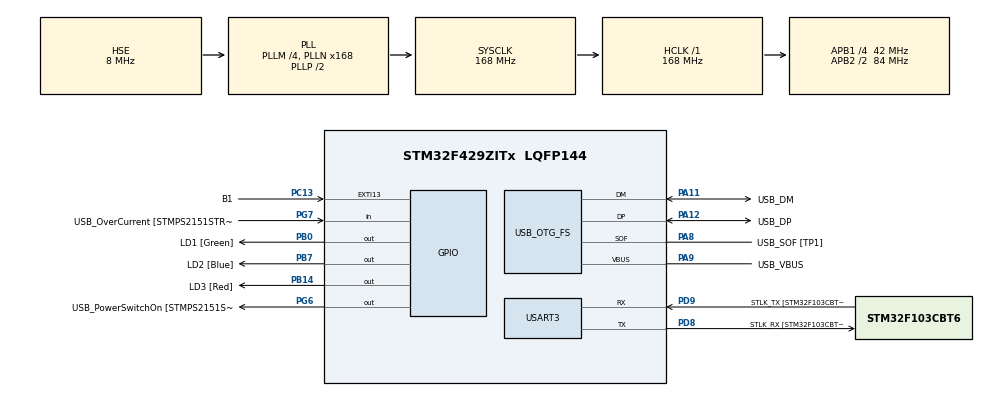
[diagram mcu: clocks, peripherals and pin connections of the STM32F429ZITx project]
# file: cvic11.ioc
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Mcu.Family=STM32F4
Mcu.Name=STM32F429ZITx
Mcu.Package=LQFP144
NVIC.OTG_FS_IRQn=true\:0\:0\:false\:false\:true\:false\:true\:true
NVIC.PriorityGroup=NVIC_PRIORITYGROUP_4
PA1.GPIO_Label=RMII_REF_CLK [LAN8742A-CZ-TR_REFCLK0]
PA1.Signal=ETH_REF_CLK
PA10.GPIO_Label=USB_ID
PA10.Signal=USB_OTG_FS_ID
PA11.GPIO_Label=USB_DM
PA11.Mode=Device_Only
PA11.Signal=USB_OTG_FS_DM
PA12.GPIO_Label=USB_DP
PA12.Mode=Device_Only
PA12.Signal=USB_OTG_FS_DP
PA13.GPIO_Label=TMS
PA13.Mode=Serial_Wire
PA13.Signal=SYS_JTMS-SWDIO
PA14.GPIO_Label=TCK
PA14.Mode=Serial_Wire
PA14.Signal=SYS_JTCK-SWCLK
PA2.GPIO_Label=RMII_MDIO [LAN8742A-CZ-TR_MDIO]
PA2.Signal=ETH_MDIO
PA7.GPIO_Label=RMII_CRS_DV [LAN8742A-CZ-TR_CRS_DV]
PA7.Signal=ETH_CRS_DV
PA8.GPIO_Label=USB_SOF [TP1]
PA8.Mode=Activate_SOF_FS
PA8.Signal=USB_OTG_FS_SOF
PA9.GPIO_Label=USB_VBUS
PA9.Mode=Activate_VBUS
PA9.Signal=USB_OTG_FS_VBUS
PB0.GPIO_Label=LD1 [Green]
PB0.Signal=GPIO_Output
PB13.GPIO_Label=RMII_TXD1 [LAN8742A-CZ-TR_TXD1]
PB13.Signal=ETH_TXD1
PB14.GPIO_Label=LD3 [Red]
PB14.Signal=GPIO_Output
PB7.GPIO_Label=LD2 [Blue]
PB7.Signal=GPIO_Output
PC1.GPIO_Label=RMII_MDC [LAN8742A-CZ-TR_MDC]
PC1.Signal=ETH_MDC
PC13.GPIO_Label=B1
PC13.Signal=GPXTI13
PC14/OSC32_IN.Mode=LSE-External-Oscillator
PC14/OSC32_IN.Signal=RCC_OSC32_IN
PC15/OSC32_OUT.Mode=LSE-External-Oscillator
PC15/OSC32_OUT.Signal=RCC_OSC32_OUT
PC4.GPIO_Label=RMII_RXD0 [LAN8742A-CZ-TR_RXD0]
PC4.Signal=ETH_RXD0
PC5.GPIO_Label=RMII_RXD1 [LAN8742A-CZ-TR_RXD1]
PC5.Signal=ETH_RXD1
PD8.GPIO_Label=STLK_RX [STM32F103CBT6_PA3]
PD8.Mode=Asynchronous
PD8.Signal=USART3_TX
PD9.GPIO_Label=STLK_TX [STM32F103CBT6_PA2]
PD9.Mode=Asynchronous
PD9.Signal=USART3_RX
PG11.GPIO_Label=RMII_TX_EN [LAN8742A-CZ-TR_TXEN]
PG11.Signal=ETH_TX_EN
PG13.GPIO_Label=RMII_TXD0 [LAN8742A-CZ-TR_TXD0]
PG13.Signal=ETH_TXD0
PG6.GPIO_Label=USB_PowerSwitchOn [STMPS2151STR_EN]
PG6.Signal=GPIO_Output
PG7.GPIO_Label=USB_OverCurrent [STMPS2151STR_FAULT]
PG7.Signal=GPIO_Input
PH0/OSC_IN.GPIO_Label=MCO [STM32F103CBT6_PA8]
PH0/OSC_IN.Mode=HSE-External-Clock-Source
PH0/OSC_IN.Signal=RCC_OSC_IN
PH1/OSC_OUT.Mode=HSE-External-Clock-Source
PH1/OSC_OUT.Signal=RCC_OSC_OUT
ProjectManager.HeapSize=0x200
ProjectManager.StackSize=0x400
ProjectManager.TargetToolchain=STM32CubeIDE
RCC.48MHZClocksFreq_Value=48000000
RCC.AHBFreq_Value=168000000
RCC.APB1CLKDivider=RCC_HCLK_DIV4
RCC.APB1Freq_Value=42000000
RCC.APB1TimFreq_Value=84000000
RCC.APB2CLKDivider=RCC_HCLK_DIV2
RCC.APB2Freq_Value=84000000
RCC.APB2TimCLKDivider=2
RCC.APB2TimFreq_Value=168000000
RCC.CortexFreq_Value=168000000
RCC.HCLKFreq_Value=168000000
RCC.HSE_VALUE=8000000
RCC.HSI_VALUE=16000000
RCC.PLLM=4
RCC.PLLMUL=RCC_PLL_MUL9
RCC.PLLN=168
RCC.PLLQ=7
RCC.PRESCALERUSB=RCC_USBCLKSOURCE_PLL_DIV1_5
RCC.SYSCLKFreq_VALUE=168000000
RCC.SYSCLKSource=RCC_SYSCLKSOURCE_PLLCLK
RCC.SYSCLKSourceVirtual=RCC_SYSCLKSOURCE_PLLCLK
RCC.USBFreq_Value=48000000
RCC.VCOOutputFreq_Value=336000000
USART3.VirtualMode=VM_ASYNC
USB_DEVICE.CLASS_NAME_FS=HID
USB_DEVICE.VirtualMode-HID_FS=Hid
USB_DEVICE.VirtualModeFS=Hid_FS
USB_OTG_FS.VirtualMode=Device_Only
VP_USB_DEVICE_VS_USB_DEVICE_HID_FS.Mode=HID_FS
board=NUCLEO-F429ZI

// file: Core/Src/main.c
/* USER CODE BEGIN Header */
/**
  ******************************************************************************
  * @file           : main.c
  * @brief          : Main program body
  ******************************************************************************
  * @attention
  *
  * Copyright (c) 2023 STMicroelectronics.
  * All rights reserved.
  *
  * This software is licensed under terms that can be found in the LICENSE file
  * in the root directory of this software component.
  * If no LICENSE file comes with this software, it is provided AS-IS.
  *
  ******************************************************************************
  */
/* USER CODE END Header */
#include "main.h"
#include "usb_device.h"

/* USER CODE BEGIN Includes */
#include "usbd_hid.h"
#include <math.h>
/* USER CODE END Includes */

UART_HandleTypeDef huart3;

/* USER CODE BEGIN PV */
extern USBD_HandleTypeDef hUsbDeviceFS;
/* USER CODE END PV */

void SystemClock_Config(void);
static void MX_GPIO_Init(void);
static void MX_USART3_UART_Init(void);

/* USER CODE BEGIN 0 */

void step(int32_t x_step, int32_t y_step, int32_t tlacitko) {
	uint8_t buff[4];
	buff[0] = tlacitko; // stiskni leve tlacitko
	buff[1] = (int8_t) (x_step); // posun X
	buff[2] = (int8_t) (y_step); // posun Y
	buff[3] = 0; // bez scrollu
	USBD_HID_SendReport(&hUsbDeviceFS, buff, sizeof(buff));
	HAL_Delay(USBD_HID_GetPollingInterval(&hUsbDeviceFS));
}

void circle(uint32_t r) {
	int32_t sx = 0;
	int32_t sy = 0;
	for (uint32_t i = 0; i < 51; i++){
		float x = r*cosf(i*(2*M_PI/50));
		float y = r*sinf(i*(2*M_PI/50));
		int32_t dx = x - sx;
		int32_t dy = y - sy;
		step(dx, dy, 1);
		sx = sx + dx;
		sy = sy + dy;
	}
}

void oblouk(uint32_t r) {
	int32_t sx = 0;
	int32_t sy = 0;
	for (uint32_t i = 6; i < 19; i++){
		float x = r*cosf(i*(2*M_PI/50));
		float y = r*sinf(i*(2*M_PI/50));
		int32_t dx = x - sx;
		int32_t dy = y - sy;
		step(dx, dy, 1);
		sx = sx + dx;
		sy = sy + dy;
	}
}

/* USER CODE END 0 */

int main(void)
{

  /* MCU Configuration--------------------------------------------------------*/

  /* Reset of all peripherals, Initializes the Flash interface and the Systick. */
  HAL_Init();

  /* Configure the system clock */
  SystemClock_Config();

  /* Initialize all configured peripherals */
  MX_GPIO_Init();
  MX_USART3_UART_Init();
  MX_USB_DEVICE_Init();

  /* Infinite loop */
  /* USER CODE BEGIN WHILE */

  while (1)
  {

	  uint32_t button = HAL_GPIO_ReadPin(B1_GPIO_Port, B1_Pin);
	  if (button != 0){
		  circle(100);
		  step(-60,15,0x01);
		  step(0,-30,0x00);
		  step(-30, -10, 0x01);
		  circle(20);
		  step(50, 0, 0x00);
		  circle(20);
		  step(-110, -40, 0x00);
		  oblouk(100);

	  }

    /* USER CODE END WHILE */

  }
}

void SystemClock_Config(void)
{
  RCC_OscInitTypeDef RCC_OscInitStruct = {0};
  RCC_ClkInitTypeDef RCC_ClkInitStruct = {0};

  /** Configure the main internal regulator output voltage
  */
  __HAL_RCC_PWR_CLK_ENABLE();
  __HAL_PWR_VOLTAGESCALING_CONFIG(PWR_REGULATOR_VOLTAGE_SCALE1);

  /** Initializes the RCC Oscillators according to the specified parameters
  * in the RCC_OscInitTypeDef structure.
  */
  RCC_OscInitStruct.OscillatorType = RCC_OSCILLATORTYPE_HSE;
  RCC_OscInitStruct.HSEState = RCC_HSE_BYPASS;
  RCC_OscInitStruct.PLL.PLLState = RCC_PLL_ON;
  RCC_OscInitStruct.PLL.PLLSource = RCC_PLLSOURCE_HSE;
  RCC_OscInitStruct.PLL.PLLM = 4;
  RCC_OscInitStruct.PLL.PLLN = 168;
  RCC_OscInitStruct.PLL.PLLP = RCC_PLLP_DIV2;
  RCC_OscInitStruct.PLL.PLLQ = 7;
  if (HAL_RCC_OscConfig(&RCC_OscInitStruct) != HAL_OK)
  {
    Error_Handler();
  }

  /** Initializes the CPU, AHB and APB buses clocks
  */
  RCC_ClkInitStruct.ClockType = RCC_CLOCKTYPE_HCLK|RCC_CLOCKTYPE_SYSCLK
                              |RCC_CLOCKTYPE_PCLK1|RCC_CLOCKTYPE_PCLK2;
  RCC_ClkInitStruct.SYSCLKSource = RCC_SYSCLKSOURCE_PLLCLK;
  RCC_ClkInitStruct.AHBCLKDivider = RCC_SYSCLK_DIV1;
  RCC_ClkInitStruct.APB1CLKDivider = RCC_HCLK_DIV4;
  RCC_ClkInitStruct.APB2CLKDivider = RCC_HCLK_DIV2;

  if (HAL_RCC_ClockConfig(&RCC_ClkInitStruct, FLASH_LATENCY_5) != HAL_OK)
  {
    Error_Handler();
  }
}

static void MX_USART3_UART_Init(void)
{

  huart3.Instance = USART3;
  huart3.Init.BaudRate = 115200;
  huart3.Init.WordLength = UART_WORDLENGTH_8B;
  huart3.Init.StopBits = UART_STOPBITS_1;
  huart3.Init.Parity = UART_PARITY_NONE;
  huart3.Init.Mode = UART_MODE_TX_RX;
  huart3.Init.HwFlowCtl = UART_HWCONTROL_NONE;
  huart3.Init.OverSampling = UART_OVERSAMPLING_16;
  if (HAL_UART_Init(&huart3) != HAL_OK)
  {
    Error_Handler();
  }

}

static void MX_GPIO_Init(void)
{
  GPIO_InitTypeDef GPIO_InitStruct = {0};

  /* GPIO Ports Clock Enable */
  __HAL_RCC_GPIOC_CLK_ENABLE();
  __HAL_RCC_GPIOH_CLK_ENABLE();
  __HAL_RCC_GPIOA_CLK_ENABLE();
  __HAL_RCC_GPIOB_CLK_ENABLE();
  __HAL_RCC_GPIOD_CLK_ENABLE();
  __HAL_RCC_GPIOG_CLK_ENABLE();

  /*Configure GPIO pin Output Level */
  HAL_GPIO_WritePin(GPIOB, LD1_Pin|LD3_Pin|LD2_Pin, GPIO_PIN_RESET);

  /*Configure GPIO pin Output Level */
  HAL_GPIO_WritePin(USB_PowerSwitchOn_GPIO_Port, USB_PowerSwitchOn_Pin, GPIO_PIN_RESET);

  /*Configure GPIO pin : B1_Pin */
  GPIO_InitStruct.Pin = B1_Pin;
  GPIO_InitStruct.Mode = GPIO_MODE_IT_RISING;
  GPIO_InitStruct.Pull = GPIO_NOPULL;
  HAL_GPIO_Init(B1_GPIO_Port, &GPIO_InitStruct);

  /*Configure GPIO pins : RMII_MDC_Pin RMII_RXD0_Pin RMII_RXD1_Pin */
  GPIO_InitStruct.Pin = RMII_MDC_Pin|RMII_RXD0_Pin|RMII_RXD1_Pin;
  GPIO_InitStruct.Mode = GPIO_MODE_AF_PP;
  GPIO_InitStruct.Pull = GPIO_NOPULL;
  GPIO_InitStruct.Speed = GPIO_SPEED_FREQ_VERY_HIGH;
  GPIO_InitStruct.Alternate = GPIO_AF11_ETH;
  HAL_GPIO_Init(GPIOC, &GPIO_InitStruct);

  /*Configure GPIO pins : RMII_REF_CLK_Pin RMII_MDIO_Pin RMII_CRS_DV_Pin */
  GPIO_InitStruct.Pin = RMII_REF_CLK_Pin|RMII_MDIO_Pin|RMII_CRS_DV_Pin;
  GPIO_InitStruct.Mode = GPIO_MODE_AF_PP;
  GPIO_InitStruct.Pull = GPIO_NOPULL;
  GPIO_InitStruct.Speed = GPIO_SPEED_FREQ_VERY_HIGH;
  GPIO_InitStruct.Alternate = GPIO_AF11_ETH;
  HAL_GPIO_Init(GPIOA, &GPIO_InitStruct);

  /*Configure GPIO pins : LD1_Pin LD3_Pin LD2_Pin */
  GPIO_InitStruct.Pin = LD1_Pin|LD3_Pin|LD2_Pin;
  GPIO_InitStruct.Mode = GPIO_MODE_OUTPUT_PP;
  GPIO_InitStruct.Pull = GPIO_NOPULL;
  GPIO_InitStruct.Speed = GPIO_SPEED_FREQ_LOW;
  HAL_GPIO_Init(GPIOB, &GPIO_InitStruct);

  /*Configure GPIO pin : RMII_TXD1_Pin */
  GPIO_InitStruct.Pin = RMII_TXD1_Pin;
  GPIO_InitStruct.Mode = GPIO_MODE_AF_PP;
  GPIO_InitStruct.Pull = GPIO_NOPULL;
  GPIO_InitStruct.Speed = GPIO_SPEED_FREQ_VERY_HIGH;
  GPIO_InitStruct.Alternate = GPIO_AF11_ETH;
  HAL_GPIO_Init(RMII_TXD1_GPIO_Port, &GPIO_InitStruct);

  /*Configure GPIO pin : USB_PowerSwitchOn_Pin */
  GPIO_InitStruct.Pin = USB_PowerSwitchOn_Pin;
  GPIO_InitStruct.Mode = GPIO_MODE_OUTPUT_PP;
  GPIO_InitStruct.Pull = GPIO_NOPULL;
  GPIO_InitStruct.Speed = GPIO_SPEED_FREQ_LOW;
  HAL_GPIO_Init(USB_PowerSwitchOn_GPIO_Port, &GPIO_InitStruct);

  /*Configure GPIO pin : USB_OverCurrent_Pin */
  GPIO_InitStruct.Pin = USB_OverCurrent_Pin;
  GPIO_InitStruct.Mode = GPIO_MODE_INPUT;
  GPIO_InitStruct.Pull = GPIO_NOPULL;
  HAL_GPIO_Init(USB_OverCurrent_GPIO_Port, &GPIO_InitStruct);

  /*Configure GPIO pins : RMII_TX_EN_Pin RMII_TXD0_Pin */
  GPIO_InitStruct.Pin = RMII_TX_EN_Pin|RMII_TXD0_Pin;
  GPIO_InitStruct.Mode = GPIO_MODE_AF_PP;
  GPIO_InitStruct.Pull = GPIO_NOPULL;
  GPIO_InitStruct.Speed = GPIO_SPEED_FREQ_VERY_HIGH;
  GPIO_InitStruct.Alternate = GPIO_AF11_ETH;
  HAL_GPIO_Init(GPIOG, &GPIO_InitStruct);

}

void Error_Handler(void)
{
  __disable_irq();
  while (1)
  {
  }
}
